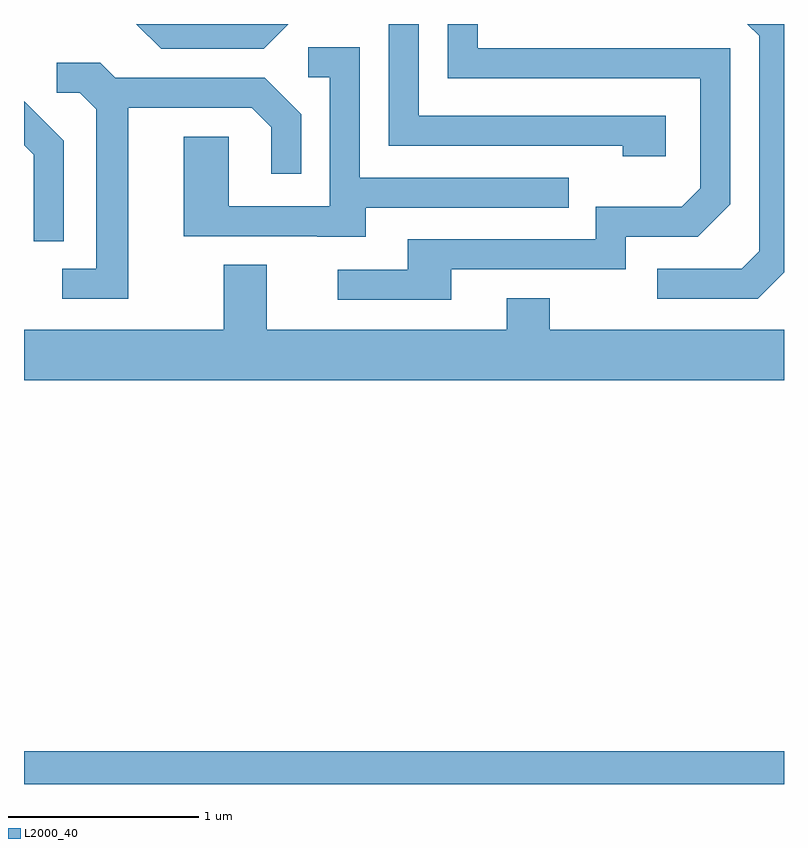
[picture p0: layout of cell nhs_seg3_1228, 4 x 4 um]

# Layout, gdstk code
import gdstk
lib = gdstk.Library(unit=1e-6, precision=1e-09)
def R(c, l, rs):  # rectangles x0, y0, x1, y1
    for r in rs: c.add(gdstk.rectangle(r[:2], r[2:], *l))
def P(c, l, *ps):  # polygons
    for p in ps: c.add(gdstk.Polygon(p, *l))
L2000_40 = (2000, 40)

nhs_seg3_1228 = lib.new_cell('nhs_seg3_1228')
R(nhs_seg3_1228, L2000_40, [(221.611,1123.892,225.611,1124.064)])
P(nhs_seg3_1228, L2000_40, [(223.859,1126.601),(224.779,1126.601),(224.779,1126.771),(225.157,1126.771),(225.329,1126.944),(225.329,1127.764),(223.999,1127.764),(223.999,1127.892),(223.841,1127.892),(223.841,1127.606),(225.171,1127.606),(225.171,1127.027),(225.074,1126.929),(224.621,1126.929),(224.621,1126.759),(223.631,1126.759),(223.631,1126.599),(223.263,1126.599),(223.263,1126.441),(223.859,1126.441)],
  [(225.611,1126.586),(225.611,1127.892),(225.418,1127.892),(225.481,1127.829),(225.481,1126.697),(225.389,1126.604),(224.943,1126.604),(224.943,1126.446),(225.472,1126.446)],
  [(223.003,1127.892),(222.203,1127.892),(222.334,1127.761),(222.872,1127.761)],
  [(224.989,1127.409),(223.689,1127.409),(223.689,1127.892),(223.531,1127.892),(223.531,1127.251),(224.761,1127.251),(224.761,1127.196),(224.989,1127.196)],
  [(223.409,1126.926),(224.478,1126.926),(224.478,1127.084),(223.379,1127.084),(223.379,1127.769),(223.108,1127.769),(223.108,1127.611),(223.221,1127.611),(223.221,1126.934),(222.689,1126.934),(222.689,1127.299),(222.451,1127.299),(222.451,1126.776),(223.155,1126.776),(223.155,1126.771),(223.409,1126.771)],
  [(222.159,1127.451),(222.809,1127.451),(222.911,1127.349),(222.911,1127.103),(223.069,1127.103),(223.069,1127.417),(222.877,1127.609),(222.092,1127.609),(222.012,1127.689),(221.783,1127.689),(221.783,1127.531),(221.904,1127.531),(221.991,1127.444),(221.991,1126.604),(221.813,1126.604),(221.813,1126.446),(222.159,1126.446)],
  [(221.819,1127.277),(221.611,1127.485),(221.611,1127.254),(221.661,1127.204),(221.661,1126.748),(221.819,1126.748)],
  [(225.611,1126.284),(224.379,1126.284),(224.379,1126.449),(224.151,1126.449),(224.151,1126.284),(222.889,1126.284),(222.889,1126.624),(222.661,1126.624),(222.661,1126.284),(221.611,1126.284),(221.611,1126.016),(225.611,1126.016)])

lib.write_gds('nhs_seg3_1228.gds')
